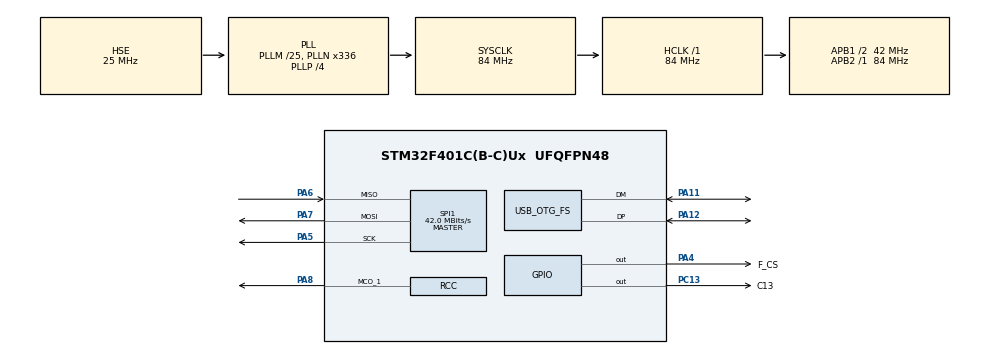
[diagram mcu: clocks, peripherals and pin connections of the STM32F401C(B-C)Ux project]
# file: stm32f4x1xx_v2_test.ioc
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ADC1.Channel-0\#ChannelRegularConversion=ADC_CHANNEL_TEMPSENSOR
ADC1.Channel-1\#ChannelRegularConversion=ADC_CHANNEL_VREFINT
ADC1.ContinuousConvMode=ENABLE
ADC1.DMAContinuousRequests=ENABLE
ADC1.InjNumberOfConversion=0
ADC1.NbrOfConversion=2
ADC1.NbrOfConversionFlag=1
ADC1.Rank-0\#ChannelRegularConversion=1
ADC1.Rank-1\#ChannelRegularConversion=2
ADC1.SamplingTime-0\#ChannelRegularConversion=ADC_SAMPLETIME_28CYCLES
ADC1.SamplingTime-1\#ChannelRegularConversion=ADC_SAMPLETIME_28CYCLES
ADC1.ScanConvMode=ENABLE
ADC1.master=1
Dma.ADC1.0.Direction=DMA_PERIPH_TO_MEMORY
Dma.ADC1.0.FIFOMode=DMA_FIFOMODE_ENABLE
Dma.ADC1.0.FIFOThreshold=DMA_FIFO_THRESHOLD_FULL
Dma.ADC1.0.Instance=DMA2_Stream0
Dma.ADC1.0.MemBurst=DMA_MBURST_SINGLE
Dma.ADC1.0.MemDataAlignment=DMA_MDATAALIGN_HALFWORD
Dma.ADC1.0.MemInc=DMA_MINC_ENABLE
Dma.ADC1.0.Mode=DMA_CIRCULAR
Dma.ADC1.0.PeriphBurst=DMA_PBURST_SINGLE
Dma.ADC1.0.PeriphDataAlignment=DMA_PDATAALIGN_HALFWORD
Dma.ADC1.0.PeriphInc=DMA_PINC_DISABLE
Dma.ADC1.0.Priority=DMA_PRIORITY_MEDIUM
Dma.Request0=ADC1
Mcu.Family=STM32F4
Mcu.Name=STM32F401C(B-C)Ux
Mcu.Package=UFQFPN48
NVIC.ADC_IRQn=true\:0\:0\:false\:false\:true\:true\:true
NVIC.DMA2_Stream0_IRQn=true\:0\:0\:false\:false\:true\:false\:true
NVIC.OTG_FS_IRQn=true\:0\:0\:false\:false\:true\:false\:true
NVIC.PriorityGroup=NVIC_PRIORITYGROUP_4
PA11.Mode=Device_Only
PA11.Signal=USB_OTG_FS_DM
PA12.Mode=Device_Only
PA12.Signal=USB_OTG_FS_DP
PA13.Mode=Serial_Wire
PA13.Signal=SYS_JTMS-SWDIO
PA14.Mode=Serial_Wire
PA14.Signal=SYS_JTCK-SWCLK
PA4.GPIO_Label=F_CS
PA4.GPIO_Speed=GPIO_SPEED_FREQ_VERY_HIGH
PA4.PinState=GPIO_PIN_SET
PA4.Signal=GPIO_Output
PA5.Mode=Full_Duplex_Master
PA5.Signal=SPI1_SCK
PA6.Mode=Full_Duplex_Master
PA6.Signal=SPI1_MISO
PA7.Mode=Full_Duplex_Master
PA7.Signal=SPI1_MOSI
PA8.GPIO_Speed=GPIO_SPEED_FREQ_VERY_HIGH
PA8.Mode=Clock-out-1
PA8.Signal=RCC_MCO_1
PC13-ANTI_TAMP.GPIO_Label=C13
PC13-ANTI_TAMP.PinState=GPIO_PIN_SET
PC13-ANTI_TAMP.Signal=GPIO_Output
PC14-OSC32_IN.Mode=LSE-External-Oscillator
PC14-OSC32_IN.Signal=RCC_OSC32_IN
PC15-OSC32_OUT.Mode=LSE-External-Oscillator
PC15-OSC32_OUT.Signal=RCC_OSC32_OUT
PH0\ -\ OSC_IN.Mode=HSE-External-Oscillator
PH0\ -\ OSC_IN.Signal=RCC_OSC_IN
PH1\ -\ OSC_OUT.Mode=HSE-External-Oscillator
PH1\ -\ OSC_OUT.Signal=RCC_OSC_OUT
ProjectManager.HeapSize=0x800
ProjectManager.StackSize=0x400
ProjectManager.TargetToolchain=MDK-ARM V5
RCC.48MHZClocksFreq_Value=48000000
RCC.AHBFreq_Value=84000000
RCC.APB1CLKDivider=RCC_HCLK_DIV2
RCC.APB1Freq_Value=42000000
RCC.APB1TimFreq_Value=84000000
RCC.APB2Freq_Value=84000000
RCC.APB2TimFreq_Value=84000000
RCC.CortexFreq_Value=84000000
RCC.HCLKFreq_Value=84000000
RCC.HSE_VALUE=25000000
RCC.HSI_VALUE=16000000
RCC.PLLM=25
RCC.PLLN=336
RCC.PLLP=RCC_PLLP_DIV4
RCC.PLLQ=7
RCC.RCC_MCO1Source=RCC_MCO1SOURCE_HSE
RCC.RCC_MCODiv1=RCC_MCODIV_4
RCC.RCC_RTC_Clock_Source=RCC_RTCCLKSOURCE_LSE
RCC.RCC_RTC_Clock_SourceVirtual=RCC_RTCCLKSOURCE_LSE
RCC.SYSCLKFreq_VALUE=84000000
RCC.SYSCLKSource=RCC_SYSCLKSOURCE_PLLCLK
RCC.VCOOutputFreq_Value=336000000
RTC.Month=RTC_MONTH_APRIL
RTC.Year=19
SPI1.BaudRatePrescaler=SPI_BAUDRATEPRESCALER_2
SPI1.CLKPhase=SPI_PHASE_2EDGE
SPI1.CLKPolarity=SPI_POLARITY_HIGH
SPI1.CalculateBaudRate=42.0 MBits/s
SPI1.Direction=SPI_DIRECTION_2LINES
SPI1.Mode=SPI_MODE_MASTER
SPI1.VirtualType=VM_MASTER
USB_DEVICE.CLASS_NAME_FS=CDC
USB_DEVICE.VirtualMode=Cdc
USB_DEVICE.VirtualModeFS=Cdc_FS
USB_OTG_FS.VirtualMode=Device_Only
VP_ADC1_TempSens_Input.Mode=IN-TempSens
VP_ADC1_Vref_Input.Mode=IN-Vrefint
VP_RTC_VS_RTC_Activate.Mode=RTC_Enabled
VP_RTC_VS_RTC_Calendar.Mode=RTC_Calendar
VP_USB_DEVICE_VS_USB_DEVICE_CDC_FS.Mode=CDC_FS
board=custom

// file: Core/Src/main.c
/* USER CODE BEGIN Header */
/**
  ******************************************************************************
  * @file           : main.c
  * @brief          : Main program body
  ******************************************************************************
  * @attention
  *
  * <h2><center>&copy; Copyright (c) 2019 STMicroelectronics.
  * All rights reserved.</center></h2>
  *
  * This software component is licensed by ST under Ultimate Liberty license
  * SLA0044, the "License"; You may not use this file except in compliance with
  * the License. You may obtain a copy of the License at:
  *                             www.st.com/SLA0044
  *
  ******************************************************************************
  */
/* USER CODE END Header */

#include "main.h"
#include "adc.h"
#include "dma.h"
#include "rtc.h"
#include "spi.h"
#include "usb_device.h"
#include "gpio.h"

/* USER CODE BEGIN Includes */
#include "usbd_cdc_if.h"
#include "w25qxx.h"
#include <stdio.h>
/* USER CODE END Includes */

/* USER CODE BEGIN PV */

// VirtualCOM 在main.h 中修改 将stm32虚拟成一个串口
// USARTx_TX_PIN                    PA9
// USARTx_RX_PIN                    PA10

#if !VirtualCOM  // 虚拟串口
/* Buffers used for displaying Time and Date */
uint8_t aShow[100] = {0};
#endif
uint8_t CDCopen;

/* USER CODE END PV */

void SystemClock_Config(void);
/* USER CODE BEGIN PFP */
#if !VirtualCOM
static void RTC_CalendarShow(uint8_t *show);
#endif
/* USER CODE END PFP */

int main(void)
{
  /* USER CODE BEGIN 1 */
	uint32_t tick,tick1,tick2;
	uint16_t uhAdc[2];
	#if !VirtualCOM
	static uint16_t w25qxxId;  // 静态变量 防止数据被篡改
	static uint8_t w25qxt;

	uint8_t w25qxSize[][6] = {
									  "ERROR!", // 没有flash或其他型号
									  "W25Q80",
									  "W25Q16",
									  "W25Q32",
									  "W25Q64",
									  };

	float Vrefint,TempSensor;
	#endif
  /* USER CODE END 1 */

  /* MCU Configuration--------------------------------------------------------*/

  /* Reset of all peripherals, Initializes the Flash interface and the Systick. */
  HAL_Init();

  /* Configure the system clock */
  SystemClock_Config();

  /* Initialize all configured peripherals */
  MX_GPIO_Init();
  MX_DMA_Init();
  MX_ADC1_Init();
  MX_RTC_Init();
  MX_SPI1_Init();
  MX_USB_DEVICE_Init();
  /* USER CODE BEGIN 2 */

 /* 无 FLASH 注释代码 */
//	uint8_t testbuf;
//  W25Qx_Init();

//  W25Qx_Read_ID(&w25qxxId);
//  if(w25qxxId >= 0xEF13)
//		w25qxt = w25qxxId - 0xEF12;
//  else w25qxt = 0;
//  if(w25qxxId >= 0xEF13)
//  {
//	  /* 读写擦除测试 */
//	  W25Qx_Read(&testbuf,0,1);
//	  if(testbuf != 0x01)
//	  {
//		  W25Qx_Erase_Chip();
//		  testbuf = 0x01;
//		  W25Qx_Write(&testbuf,0,1);
//	  }
//  }
  HAL_ADC_Start_DMA(&hadc1,(uint32_t *)uhAdc,sizeof(uhAdc));
  tick2 = tick1 = tick = HAL_GetTick();

  /* USER CODE END 2 */

  /* Infinite loop */
  /* USER CODE BEGIN WHILE */
  while (1)
  {
	  /* C13 呼吸灯测试 */
		static uint8_t pwmset;
		static uint16_t time;
		static uint8_t timeflag;
		static uint8_t timecount;
	  if((HAL_GetTick() - tick >= 1 ))
	  {
		   tick = HAL_GetTick();

			 /* 呼吸灯 */
			if(timeflag == 0)
			{
				time ++;
				if(time >= 1600) timeflag = 1;
			}
			else
			{
				time --;
				if(time == 0) timeflag = 0;
			}

			/* 占空比设置 */
			pwmset = time/80;

			/* 20ms 脉宽 */
			if(timecount > 20) timecount = 0;
			else timecount ++;

			if(timecount >= pwmset ) HAL_GPIO_WritePin(C13_GPIO_Port,C13_Pin,GPIO_PIN_SET);
			else HAL_GPIO_WritePin(C13_GPIO_Port,C13_Pin,GPIO_PIN_RESET);
	  }
	   /* USB RTC ADC测试 */

	  if(HAL_GetTick() - tick1 >= 1000)
	  {
		  tick1 = HAL_GetTick();
		  #if !VirtualCOM // 虚拟串口
		  RTC_CalendarShow(aShow);
		  HAL_Delay(2-1);  // 2ms 等待USB发送完成

		  Vrefint = (float)uhAdc[1] / 4096 * 3.3f;
		  TempSensor = (((float)uhAdc[0]*1200/(float)uhAdc[1]) - 760)/2.5f + 25; // V25 = 0.76V, Avg_Slope = 2.5mV/°C

		  CDC_Transmit_FS(aShow,sprintf((char *)aShow,"VrefintAdc: %.4fV\r\nTempSensorAdc: %.2f°C\r\nFlashID:%#X %.*s\r\n\r\n",
																					Vrefint,TempSensor,w25qxxId,6,(char *)&w25qxSize[w25qxt]));
		  #endif
	  }

	  /* USB CDC 开关测试 */
	  if((HAL_GetTick() - tick2 >= 50 ))
	  {
		  tick2 = HAL_GetTick();
		  if(CDCopen > 0)
		  {
			  CDCopen ++;
			  if(CDCopen%2 == 1) time = 10;
			  else time = 1000;
			  if(CDCopen > 9)
			  {
				  CDCopen = 0;
				  HAL_GPIO_WritePin(C13_GPIO_Port,C13_Pin,GPIO_PIN_SET);
			  }
		  }
	  }
    /* USER CODE END WHILE */

  }
}

void SystemClock_Config(void)
{
  RCC_OscInitTypeDef RCC_OscInitStruct = {0};
  RCC_ClkInitTypeDef RCC_ClkInitStruct = {0};
  RCC_PeriphCLKInitTypeDef PeriphClkInitStruct = {0};

  /** Configure the main internal regulator output voltage
  */
  __HAL_RCC_PWR_CLK_ENABLE();
  __HAL_PWR_VOLTAGESCALING_CONFIG(PWR_REGULATOR_VOLTAGE_SCALE2);
  /** Initializes the CPU, AHB and APB busses clocks
  */
  RCC_OscInitStruct.OscillatorType = RCC_OSCILLATORTYPE_HSE|RCC_OSCILLATORTYPE_LSE;
  RCC_OscInitStruct.HSEState = RCC_HSE_ON;
  RCC_OscInitStruct.LSEState = RCC_LSE_ON;
  RCC_OscInitStruct.PLL.PLLState = RCC_PLL_ON;
  RCC_OscInitStruct.PLL.PLLSource = RCC_PLLSOURCE_HSE;
  RCC_OscInitStruct.PLL.PLLM = 25;
  RCC_OscInitStruct.PLL.PLLN = 336;
  RCC_OscInitStruct.PLL.PLLP = RCC_PLLP_DIV4;
  RCC_OscInitStruct.PLL.PLLQ = 7;
  if (HAL_RCC_OscConfig(&RCC_OscInitStruct) != HAL_OK)
  {
    Error_Handler();
  }
  /** Initializes the CPU, AHB and APB busses clocks
  */
  RCC_ClkInitStruct.ClockType = RCC_CLOCKTYPE_HCLK|RCC_CLOCKTYPE_SYSCLK
                              |RCC_CLOCKTYPE_PCLK1|RCC_CLOCKTYPE_PCLK2;
  RCC_ClkInitStruct.SYSCLKSource = RCC_SYSCLKSOURCE_PLLCLK;
  RCC_ClkInitStruct.AHBCLKDivider = RCC_SYSCLK_DIV1;
  RCC_ClkInitStruct.APB1CLKDivider = RCC_HCLK_DIV2;
  RCC_ClkInitStruct.APB2CLKDivider = RCC_HCLK_DIV1;

  if (HAL_RCC_ClockConfig(&RCC_ClkInitStruct, FLASH_LATENCY_2) != HAL_OK)
  {
    Error_Handler();
  }
  PeriphClkInitStruct.PeriphClockSelection = RCC_PERIPHCLK_RTC;
  PeriphClkInitStruct.RTCClockSelection = RCC_RTCCLKSOURCE_LSE;
  if (HAL_RCCEx_PeriphCLKConfig(&PeriphClkInitStruct) != HAL_OK)
  {
    Error_Handler();
  }
  HAL_RCC_MCOConfig(RCC_MCO1, RCC_MCO1SOURCE_HSE, RCC_MCODIV_4);
}

/* USER CODE BEGIN 4 */
#if !VirtualCOM
/**
  * @brief  Display the current time and date.
  * @param  show : pointer to buffer
  * @retval None
  */
static void RTC_CalendarShow(uint8_t *show)
{
  RTC_DateTypeDef sdatestructureget;
  RTC_TimeTypeDef stimestructureget;
  int32_t size;

  /* 必须同时获取时间和日期 不然会导致下次RTC不能读取 */
  /* Get the RTC current Time */
  HAL_RTC_GetTime(&hrtc, &stimestructureget, RTC_FORMAT_BIN);
  /* Get the RTC current Date */
  HAL_RTC_GetDate(&hrtc, &sdatestructureget, RTC_FORMAT_BIN);
  /* Display time Format : hh:mm:ss Display date Format : mm-dd-yy */
  size = sprintf((char *)show, "%02d:%02d:%02d,%02d月%02d日%2d年\r\n", stimestructureget.Hours,
																					stimestructureget.Minutes,
																					stimestructureget.Seconds,
																					sdatestructureget.Month,
																					sdatestructureget.Date,
																					2000 + sdatestructureget.Year);
  CDC_Transmit_FS(show,size);
}
#endif
/* USER CODE END 4 */

void Error_Handler(void)
{
}

/************************ (C) COPYRIGHT STMicroelectronics *****END OF FILE****/
